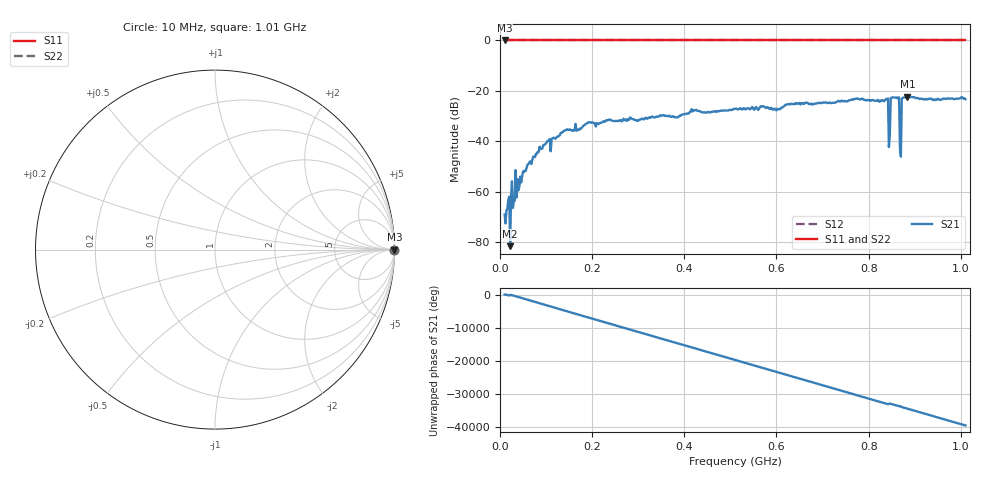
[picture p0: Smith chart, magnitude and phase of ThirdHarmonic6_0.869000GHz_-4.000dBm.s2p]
! 8/16/2025 4:41:20 AM
! C:\ANRITSUVNA\TEMP\TEMP.S2P
! CHANNEL.1
! TR.MEASUREMENT
! RAW.DATA
! RF.CORRECTION.OFF
! AVERAGING.OFF
! IF.BANDWIDTH: 5KHZ
! SWEEPTYPE:  FREQ.SWEEP(Linear)
! Reference Plane Port Info
! PORT:  PORT1  PORT2
! DISTANCE:  0  m  0  m
! TIME:  0  s  0  s
! PHASE.OFFSET:  0  deg.  0  deg.
! LOSS:  0  dB  0  dB
! REF.LOSS:  0  dB  0  dB
! REF.FREQ:  0  Hz  0  Hz
! Power Info
! POWER:  -20  dBm  -20  dBm
! EFF.POWER:  -20  dBm  -20  dBm
! SOURCE.ATTEN:  0  dB  0  dB
! TEST.ATTEN:  0  dB  0  dB
# GHZ S RI R 50.0
! FREQ.GHZ  S11RE  S11IM  S21RE  S21IM  S12RE  S12IM  S22RE  S22IM
!; PortSelection: Port_12
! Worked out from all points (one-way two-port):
!   501 points, 10 MHz to 1.01 GHz, reference 50 ohm
!   highest |S21| = -22.23 dB at 884 MHz (marker M1); lowest = -81.5 dB at 22 MHz (marker M2)
!   lowest |S11| = 0.0 dB at 10 MHz (marker M3)
!   |S11| at or under -10 dB: nowhere
!   |S22| runs from 0.0 to 0.0 dB; largest |S21 - S12| = 1.1
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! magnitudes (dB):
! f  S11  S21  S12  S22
! 10 MHz  0.0  -69.0  0.0  0.0
! 22 MHz  0.0  -81.5  0.0  0.0
! 26 MHz  0.0  -55.8  0.0  0.0
! 30 MHz  0.0  -63.4  0.0  0.0
! 62 MHz  0.0  -48.9  0.0  0.0
! 90 MHz  0.0  -42.9  0.0  0.0
! 142 MHz  0.0  -35.5  0.0  0.0
! 178 MHz  0.0  -34.5  0.0  0.0
! 344 MHz  0.0  -30.2  0.0  0.0
! 510 MHz  0.0  -27.1  0.0  0.0
! 678 MHz  0.0  -25.4  0.0  0.0
! 838 MHz  0.0  -23.2  0.0  0.0
! 842 MHz  0.0  -23.0  0.0  0.0
! 844 MHz  0.0  -42.2  0.0  0.0
! 848 MHz  0.0  -22.8  0.0  0.0
! 852 MHz  0.0  -22.5  0.0  0.0
! 862 MHz  0.0  -22.6  0.0  0.0
! 866 MHz  0.0  -22.5  0.0  0.0
! 872 MHz  0.0  -23.0  0.0  0.0
! 876 MHz  0.0  -22.7  0.0  0.0
! 884 MHz  0.0  -22.2  0.0  0.0
! 1.01 GHz  0.0  -23.2  0.0  0.0
